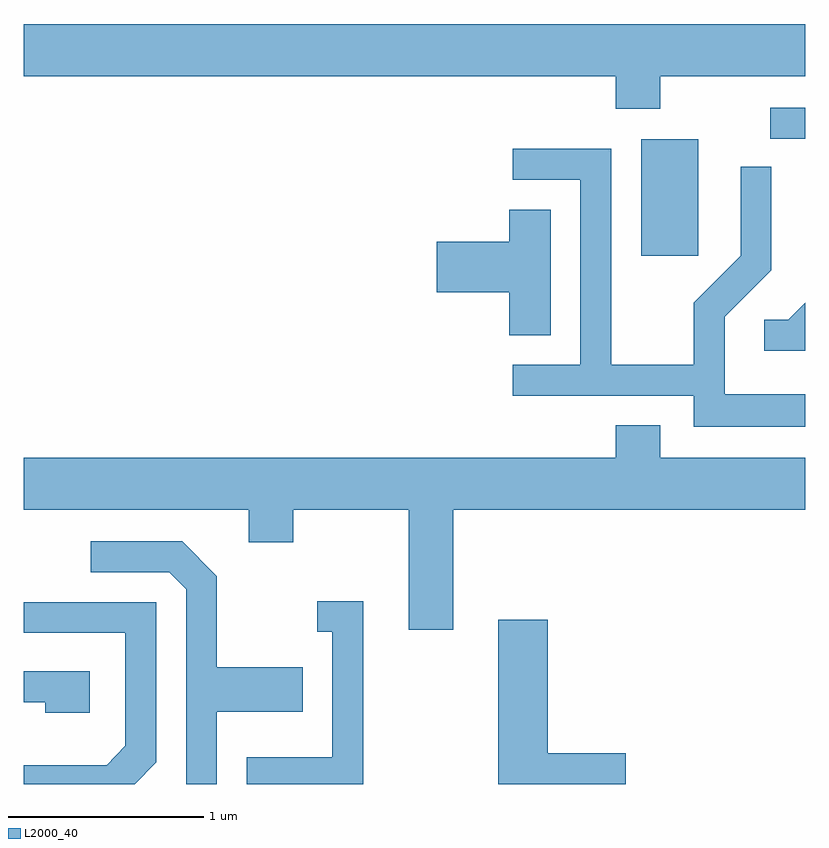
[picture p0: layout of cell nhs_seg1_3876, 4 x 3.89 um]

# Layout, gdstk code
import gdstk
lib = gdstk.Library(unit=1e-6, precision=1e-09)
def R(c, l, rs):  # rectangles x0, y0, x1, y1
    for r in rs: c.add(gdstk.rectangle(r[:2], r[2:], *l))
def P(c, l, *ps):  # polygons
    for p in ps: c.add(gdstk.Polygon(p, *l))
L2000_40 = (2000, 40)

nhs_seg1_3876 = lib.new_cell('nhs_seg1_3876')
R(nhs_seg1_3876, L2000_40, [(304.771,916.416,305.064,917.014), (305.433,917.016,305.611,917.174)])
P(nhs_seg1_3876, L2000_40, [(304.869,917.336),(305.611,917.336),(305.611,917.604),(301.611,917.604),(301.611,917.336),(304.641,917.336),(304.641,917.171),(304.869,917.171)],
  [(305.611,915.709),(305.199,915.709),(305.199,916.104),(305.439,916.344),(305.439,916.873),(305.281,916.873),(305.281,916.417),(305.041,916.177),(305.041,915.859),(304.619,915.859),(304.619,916.964),(304.113,916.964),(304.113,916.806),(304.461,916.806),(304.461,915.859),(304.113,915.859),(304.113,915.701),(305.041,915.701),(305.041,915.541),(305.611,915.541)],
  [(304.309,916.654),(304.096,916.654),(304.096,916.489),(303.726,916.489),(303.726,916.231),(304.096,916.231),(304.096,916.011),(304.309,916.011)],
  [(305.611,916.177),(305.524,916.089),(305.403,916.089),(305.403,915.931),(305.611,915.931)],
  [(303.809,915.116),(305.611,915.116),(305.611,915.384),(304.869,915.384),(304.869,915.549),(304.641,915.549),(304.641,915.384),(301.611,915.384),(301.611,915.116),(302.761,915.116),(302.761,914.951),(302.989,914.951),(302.989,915.116),(303.581,915.116),(303.581,914.501),(303.809,914.501)],
  [(302.599,914.081),(303.039,914.081),(303.039,914.309),(302.599,914.309),(302.599,914.777),(302.422,914.954),(301.953,914.954),(301.953,914.796),(302.354,914.796),(302.441,914.709),(302.441,913.712),(302.599,913.712)],
  [(303.349,914.649),(303.113,914.649),(303.113,914.491),(303.191,914.491),(303.191,913.849),(302.751,913.849),(302.751,913.712),(303.349,913.712)],
  [(302.289,913.824),(302.289,914.644),(301.611,914.644),(301.611,914.486),(302.131,914.486),(302.131,913.907),(302.034,913.809),(301.611,913.809),(301.611,913.712),(302.178,913.712)],
  [(304.694,913.869),(304.294,913.869),(304.294,914.554),(304.041,914.554),(304.041,913.712),(304.694,913.712)],
  [(301.949,914.289),(301.611,914.289),(301.611,914.131),(301.721,914.131),(301.721,914.076),(301.949,914.076)])

lib.write_gds('nhs_seg1_3876.gds')
